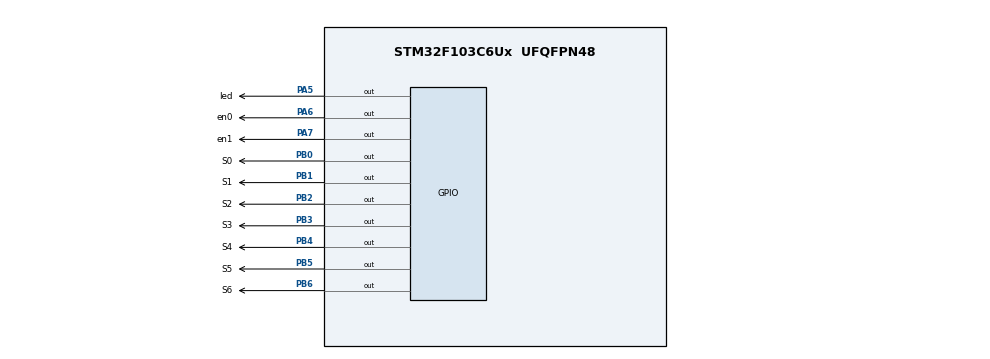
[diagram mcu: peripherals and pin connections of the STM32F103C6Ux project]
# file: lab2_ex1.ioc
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Mcu.Family=STM32F1
Mcu.Name=STM32F103C6Ux
Mcu.Package=UFQFPN48
NVIC.PriorityGroup=NVIC_PRIORITYGROUP_4
NVIC.TIM2_IRQn=true\:0\:0\:false\:false\:true\:true\:true
PA5.GPIO_Label=led
PA5.Signal=GPIO_Output
PA6.GPIO_Label=en0
PA6.Signal=GPIO_Output
PA7.GPIO_Label=en1
PA7.Signal=GPIO_Output
PB0.GPIO_Label=S0
PB0.Signal=GPIO_Output
PB1.GPIO_Label=S1
PB1.Signal=GPIO_Output
PB2.GPIO_Label=S2
PB2.Signal=GPIO_Output
PB3.GPIO_Label=S3
PB3.Signal=GPIO_Output
PB4.GPIO_Label=S4
PB4.Signal=GPIO_Output
PB5.GPIO_Label=S5
PB5.Signal=GPIO_Output
PB6.GPIO_Label=S6
PB6.Signal=GPIO_Output
ProjectManager.HeapSize=0x200
ProjectManager.StackSize=0x400
ProjectManager.TargetToolchain=STM32CubeIDE
RCC.APB1Freq_Value=8000000
RCC.APB2Freq_Value=8000000
TIM2.Period=7
TIM2.Prescaler=7999
VP_SYS_VS_ND.Mode=No_Debug
VP_TIM2_VS_ClockSourceINT.Mode=Internal
board=custom

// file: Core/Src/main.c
/* USER CODE BEGIN Header */
/**
  ******************************************************************************
  * @file           : main.c
  * @brief          : Main program body
  ******************************************************************************
  * @attention
  *
  * <h2><center>&copy; Copyright (c) 2022 STMicroelectronics.
  * All rights reserved.</center></h2>
  *
  * This software component is licensed by ST under BSD 3-Clause license,
  * the "License"; You may not use this file except in compliance with the
  * License. You may obtain a copy of the License at:
  *                        opensource.org/licenses/BSD-3-Clause
  *
  ******************************************************************************
  */
/* USER CODE END Header */
#include "main.h"

TIM_HandleTypeDef htim2;

void SystemClock_Config(void);
static void MX_GPIO_Init(void);
static void MX_TIM2_Init(void);

int main(void)
{

  /* MCU Configuration--------------------------------------------------------*/

  /* Reset of all peripherals, Initializes the Flash interface and the Systick. */
  HAL_Init();

  /* Configure the system clock */
  SystemClock_Config();

  /* Initialize all configured peripherals */
  MX_GPIO_Init();
  MX_TIM2_Init();
  /* USER CODE BEGIN 2 */
  HAL_TIM_Base_Start_IT(& htim2);
  /* USER CODE END 2 */

  /* Infinite loop */
  while (1)
  {

  }
}

void SystemClock_Config(void)
{
  RCC_OscInitTypeDef RCC_OscInitStruct = {0};
  RCC_ClkInitTypeDef RCC_ClkInitStruct = {0};

  /** Initializes the RCC Oscillators according to the specified parameters
  * in the RCC_OscInitTypeDef structure.
  */
  RCC_OscInitStruct.OscillatorType = RCC_OSCILLATORTYPE_HSI;
  RCC_OscInitStruct.HSIState = RCC_HSI_ON;
  RCC_OscInitStruct.HSICalibrationValue = RCC_HSICALIBRATION_DEFAULT;
  RCC_OscInitStruct.PLL.PLLState = RCC_PLL_NONE;
  if (HAL_RCC_OscConfig(&RCC_OscInitStruct) != HAL_OK)
  {
    Error_Handler();
  }
  /** Initializes the CPU, AHB and APB buses clocks
  */
  RCC_ClkInitStruct.ClockType = RCC_CLOCKTYPE_HCLK|RCC_CLOCKTYPE_SYSCLK
                              |RCC_CLOCKTYPE_PCLK1|RCC_CLOCKTYPE_PCLK2;
  RCC_ClkInitStruct.SYSCLKSource = RCC_SYSCLKSOURCE_HSI;
  RCC_ClkInitStruct.AHBCLKDivider = RCC_SYSCLK_DIV1;
  RCC_ClkInitStruct.APB1CLKDivider = RCC_HCLK_DIV1;
  RCC_ClkInitStruct.APB2CLKDivider = RCC_HCLK_DIV1;

  if (HAL_RCC_ClockConfig(&RCC_ClkInitStruct, FLASH_LATENCY_0) != HAL_OK)
  {
    Error_Handler();
  }
}

static void MX_TIM2_Init(void)
{

  TIM_ClockConfigTypeDef sClockSourceConfig = {0};
  TIM_MasterConfigTypeDef sMasterConfig = {0};

  htim2.Instance = TIM2;
  htim2.Init.Prescaler = 7999;
  htim2.Init.CounterMode = TIM_COUNTERMODE_UP;
  htim2.Init.Period = 7;
  htim2.Init.ClockDivision = TIM_CLOCKDIVISION_DIV1;
  htim2.Init.AutoReloadPreload = TIM_AUTORELOAD_PRELOAD_DISABLE;
  if (HAL_TIM_Base_Init(&htim2) != HAL_OK)
  {
    Error_Handler();
  }
  sClockSourceConfig.ClockSource = TIM_CLOCKSOURCE_INTERNAL;
  if (HAL_TIM_ConfigClockSource(&htim2, &sClockSourceConfig) != HAL_OK)
  {
    Error_Handler();
  }
  sMasterConfig.MasterOutputTrigger = TIM_TRGO_RESET;
  sMasterConfig.MasterSlaveMode = TIM_MASTERSLAVEMODE_DISABLE;
  if (HAL_TIMEx_MasterConfigSynchronization(&htim2, &sMasterConfig) != HAL_OK)
  {
    Error_Handler();
  }

}

static void MX_GPIO_Init(void)
{
  GPIO_InitTypeDef GPIO_InitStruct = {0};

  /* GPIO Ports Clock Enable */
  __HAL_RCC_GPIOA_CLK_ENABLE();
  __HAL_RCC_GPIOB_CLK_ENABLE();

  /*Configure GPIO pin Output Level */
  HAL_GPIO_WritePin(GPIOA, led_Pin|en0_Pin|en1_Pin, GPIO_PIN_RESET);

  /*Configure GPIO pin Output Level */
  HAL_GPIO_WritePin(GPIOB, S0_Pin|S1_Pin|S2_Pin|S3_Pin
                          |S4_Pin|S5_Pin|S6_Pin, GPIO_PIN_RESET);

  /*Configure GPIO pins : led_Pin en0_Pin en1_Pin */
  GPIO_InitStruct.Pin = led_Pin|en0_Pin|en1_Pin;
  GPIO_InitStruct.Mode = GPIO_MODE_OUTPUT_PP;
  GPIO_InitStruct.Pull = GPIO_NOPULL;
  GPIO_InitStruct.Speed = GPIO_SPEED_FREQ_LOW;
  HAL_GPIO_Init(GPIOA, &GPIO_InitStruct);

  /*Configure GPIO pins : S0_Pin S1_Pin S2_Pin S3_Pin
                           S4_Pin S5_Pin S6_Pin */
  GPIO_InitStruct.Pin = S0_Pin|S1_Pin|S2_Pin|S3_Pin
                          |S4_Pin|S5_Pin|S6_Pin;
  GPIO_InitStruct.Mode = GPIO_MODE_OUTPUT_PP;
  GPIO_InitStruct.Pull = GPIO_NOPULL;
  GPIO_InitStruct.Speed = GPIO_SPEED_FREQ_LOW;
  HAL_GPIO_Init(GPIOB, &GPIO_InitStruct);

}

/* USER CODE BEGIN 4 */
void display7SEG(int num) {
	int dis_arr[10] = { 0x3f, 0x06, 0x5b, 0x4f, 0x66, 0x6d, 0x7d, 0x07, 0x7f, 0x6f };
	int bit_var, var2;

	var2 = ~dis_arr[num];
	bit_var = var2 & 0x01;
	HAL_GPIO_WritePin(GPIOB, S0_Pin, bit_var);

	bit_var = (var2>>1) & 0x01;
	HAL_GPIO_WritePin(GPIOB, S1_Pin, bit_var);

	bit_var = (var2>>2) & 0x01;
	HAL_GPIO_WritePin(GPIOB, S2_Pin, bit_var);

	bit_var = (var2>>3) & 0x01;
	HAL_GPIO_WritePin(GPIOB, S3_Pin, bit_var);

	bit_var = (var2>>4) & 0x01;
	HAL_GPIO_WritePin(GPIOB, S4_Pin, bit_var);

	bit_var = (var2>>5) & 0x01;
	HAL_GPIO_WritePin(GPIOB, S5_Pin, bit_var);

	bit_var = (var2>>6) & 0x01;
	HAL_GPIO_WritePin(GPIOB, S6_Pin, bit_var);
}

int counter = 50;
int which_led = 0;
void HAL_TIM_PeriodElapsedCallback(TIM_HandleTypeDef * htim) {
	counter--;
	if(counter <= 0) {
		counter = 50;
		switch(which_led) {
		case 0:
			which_led = 1;
			HAL_GPIO_WritePin(GPIOA, en0_Pin, RESET);
			HAL_GPIO_WritePin(GPIOA, en1_Pin, SET);
			display7SEG(1);
			break;
		case 1:
			which_led = 0;
			HAL_GPIO_WritePin(GPIOA, en0_Pin, SET);
			HAL_GPIO_WritePin(GPIOA, en1_Pin, RESET);
			display7SEG(2);
			break;
		default:
			break;
		}
	}
}
/* USER CODE END 4 */

void Error_Handler(void)
{
  __disable_irq();
  while (1)
  {
  }
}

/************************ (C) COPYRIGHT STMicroelectronics *****END OF FILE****/
